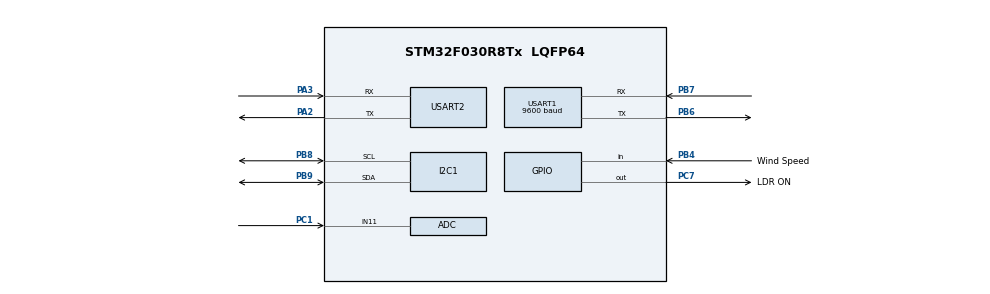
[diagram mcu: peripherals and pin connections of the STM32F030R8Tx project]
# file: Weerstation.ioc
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FREERTOS.Mutexes01=hi2c1Mutex,Dynamic,NULL;huart1Mutex,Dynamic,NULL
FREERTOS.Tasks01=defaultTask,0,128,StartDefaultTask,Default,NULL,Dynamic,NULL,NULL;tempTask,-3,128,StartTaskTempTask,Default,NULL,Dynamic,NULL,NULL;humdTask,-3,128,StartHumdTask,Default,NULL,Dynamic,NULL,NULL
Mcu.Family=STM32F0
Mcu.Name=STM32F030R8Tx
Mcu.Package=LQFP64
NVIC.TIM1_BRK_UP_TRG_COM_IRQn=true\:0\:0\:false\:false\:true\:false\:false
NVIC.TimeBase=TIM1_BRK_UP_TRG_COM_IRQn
NVIC.TimeBaseIP=TIM1
PA2.Mode=Asynchronous
PA2.Signal=USART2_TX
PA3.Mode=Asynchronous
PA3.Signal=USART2_RX
PB4.GPIO_Label=Wind Speed
PB4.GPIO_PuPd=GPIO_PULLUP
PB4.Signal=GPIO_Input
PB6.Mode=Asynchronous
PB6.Signal=USART1_TX
PB7.Mode=Asynchronous
PB7.Signal=USART1_RX
PB8.Mode=I2C
PB8.Signal=I2C1_SCL
PB9.Mode=I2C
PB9.Signal=I2C1_SDA
PC1.Mode=IN11
PC1.Signal=ADC_IN11
PC7.GPIO_Label=LDR ON
PC7.GPIO_ModeDefaultOutputPP=GPIO_MODE_OUTPUT_PP
PC7.PinState=GPIO_PIN_RESET
PC7.Signal=GPIO_Output
ProjectManager.HeapSize=0x200
ProjectManager.StackSize=0x400
ProjectManager.TargetToolchain=SW4STM32
USART1.BaudRate=9600
USART1.VirtualMode-Asynchronous=VM_ASYNC
USART2.VirtualMode-Asynchronous=VM_ASYNC
VP_FREERTOS_VS_ENABLE.Mode=Enabled
VP_SYS_VS_tim1.Mode=TIM1
board=custom

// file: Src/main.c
/**
  ******************************************************************************
  * @file           : main.c
  * @brief          : Main program body
  ******************************************************************************
  * This notice applies to any and all portions of this file
  * that are not between comment pairs USER CODE BEGIN and
  * USER CODE END. Other portions of this file, whether
  * inserted by the user or by software development tools
  * are owned by their respective copyright owners.
  *
  * Copyright (c) 2018 STMicroelectronics International N.V.
  * All rights reserved.
  *
  * Redistribution and use in source and binary forms, with or without
  * modification, are permitted, provided that the following conditions are met:
  *
  * 1. Redistribution of source code must retain the above copyright notice,
  *    this list of conditions and the following disclaimer.
  * 2. Redistributions in binary form must reproduce the above copyright notice,
  *    this list of conditions and the following disclaimer in the documentation
  *    and/or other materials provided with the distribution.
  * 3. Neither the name of STMicroelectronics nor the names of other
  *    contributors to this software may be used to endorse or promote products
  *    derived from this software without specific written permission.
  * 4. This software, including modifications and/or derivative works of this
  *    software, must execute solely and exclusively on microcontroller or
  *    microprocessor devices manufactured by or for STMicroelectronics.
  * 5. Redistribution and use of this software other than as permitted under
  *    this license is void and will automatically terminate your rights under
  *    this license.
  *
  * THIS SOFTWARE IS PROVIDED BY STMICROELECTRONICS AND CONTRIBUTORS "AS IS"
  * AND ANY EXPRESS, IMPLIED OR STATUTORY WARRANTIES, INCLUDING, BUT NOT
  * LIMITED TO, THE IMPLIED WARRANTIES OF MERCHANTABILITY, FITNESS FOR A
  * PARTICULAR PURPOSE AND NON-INFRINGEMENT OF THIRD PARTY INTELLECTUAL PROPERTY
  * RIGHTS ARE DISCLAIMED TO THE FULLEST EXTENT PERMITTED BY LAW. IN NO EVENT
  * SHALL STMICROELECTRONICS OR CONTRIBUTORS BE LIABLE FOR ANY DIRECT, INDIRECT,
  * INCIDENTAL, SPECIAL, EXEMPLARY, OR CONSEQUENTIAL DAMAGES (INCLUDING, BUT NOT
  * LIMITED TO, PROCUREMENT OF SUBSTITUTE GOODS OR SERVICES; LOSS OF USE, DATA,
  * OR PROFITS; OR BUSINESS INTERRUPTION) HOWEVER CAUSED AND ON ANY THEORY OF
  * LIABILITY, WHETHER IN CONTRACT, STRICT LIABILITY, OR TORT (INCLUDING
  * NEGLIGENCE OR OTHERWISE) ARISING IN ANY WAY OUT OF THE USE OF THIS SOFTWARE,
  * EVEN IF ADVISED OF THE POSSIBILITY OF SUCH DAMAGE.
  *
  ******************************************************************************
  */
#include "main.h"
#include "stm32f0xx_hal.h"
#include "cmsis_os.h"
<<<<<<< HEAD:Alweer een Microcontroller/Test/Src/main.c
#include "si7021.h"
#include "ssd1306.h"
#include <stdio.h>
#include <stdlib.h>
=======
>>>>>>> origin/Weer-Een-Station-STM:Alweer een Microcontroller/Weerstation/Src/main.c

/* USER CODE BEGIN Includes */
#include <stdio.h>
#include <stdlib.h>
#include "fonts.h"
#include "string.h"
#include "si7021.h"
#include "ssd1306.h"
#include "weereenlibrary.h"

/* USER CODE END Includes */

ADC_HandleTypeDef hadc;

I2C_HandleTypeDef hi2c1;

UART_HandleTypeDef huart1;
UART_HandleTypeDef huart2;

osThreadId defaultTaskHandle;
osThreadId tempTaskHandle;
osThreadId humdTaskHandle;
osMutexId hi2c1MutexHandle;
osMutexId huart1MutexHandle;

/* USER CODE BEGIN PV */
/* Private variables ---------------------------------------------------------*/

/* USER CODE END PV */

void SystemClock_Config(void);
static void MX_GPIO_Init(void);
static void MX_USART1_UART_Init(void);
static void MX_I2C1_Init(void);
static void MX_USART2_UART_Init(void);
static void MX_ADC_Init(void);
void StartDefaultTask(void const * argument);
void StartTaskTempTask(void const * argument);
void StartHumdTask(void const * argument);

/* USER CODE BEGIN PFP */
/* Private function prototypes -----------------------------------------------*/

/* USER CODE END PFP */

int main(void)
{

  /* MCU Configuration----------------------------------------------------------*/

  /* Reset of all peripherals, Initializes the Flash interface and the Systick. */
  HAL_Init();

  /* USER CODE BEGIN Init */
	ssd1306_Init();
  /* USER CODE END Init */

  /* Configure the system clock */
  SystemClock_Config();

  /* Initialize all configured peripherals */
  MX_GPIO_Init();
  MX_USART1_UART_Init();
  MX_I2C1_Init();
  MX_USART2_UART_Init();
  MX_ADC_Init();

  /* Create the mutex(es) */
  /* definition and creation of hi2c1Mutex */
  osMutexDef(hi2c1Mutex);
  hi2c1MutexHandle = osMutexCreate(osMutex(hi2c1Mutex));

  /* definition and creation of huart1Mutex */
  osMutexDef(huart1Mutex);
  huart1MutexHandle = osMutexCreate(osMutex(huart1Mutex));

  /* Create the thread(s) */
  /* definition and creation of defaultTask */
  osThreadDef(defaultTask, StartDefaultTask, osPriorityNormal, 0, 128);
  defaultTaskHandle = osThreadCreate(osThread(defaultTask), NULL);

  /* definition and creation of tempTask */
  osThreadDef(tempTask, StartTaskTempTask, osPriorityIdle, 0, 128);
  tempTaskHandle = osThreadCreate(osThread(tempTask), NULL);

  /* definition and creation of humdTask */
  osThreadDef(humdTask, StartHumdTask, osPriorityIdle, 0, 128);
  humdTaskHandle = osThreadCreate(osThread(humdTask), NULL);

  /* Start scheduler */
  osKernelStart();

  /* We should never get here as control is now taken by the scheduler */

  /* Infinite loop */
	while (1) {

	}

}

void SystemClock_Config(void)
{

  RCC_OscInitTypeDef RCC_OscInitStruct;
  RCC_ClkInitTypeDef RCC_ClkInitStruct;
  RCC_PeriphCLKInitTypeDef PeriphClkInit;

    /**Initializes the CPU, AHB and APB busses clocks
    */
  RCC_OscInitStruct.OscillatorType = RCC_OSCILLATORTYPE_HSI|RCC_OSCILLATORTYPE_HSI14;
  RCC_OscInitStruct.HSIState = RCC_HSI_ON;
  RCC_OscInitStruct.HSI14State = RCC_HSI14_ON;
  RCC_OscInitStruct.HSICalibrationValue = 16;
  RCC_OscInitStruct.HSI14CalibrationValue = 16;
  RCC_OscInitStruct.PLL.PLLState = RCC_PLL_NONE;
  if (HAL_RCC_OscConfig(&RCC_OscInitStruct) != HAL_OK)
  {
    _Error_Handler(__FILE__, __LINE__);
  }

    /**Initializes the CPU, AHB and APB busses clocks
    */
  RCC_ClkInitStruct.ClockType = RCC_CLOCKTYPE_HCLK|RCC_CLOCKTYPE_SYSCLK
                              |RCC_CLOCKTYPE_PCLK1;
  RCC_ClkInitStruct.SYSCLKSource = RCC_SYSCLKSOURCE_HSI;
  RCC_ClkInitStruct.AHBCLKDivider = RCC_SYSCLK_DIV1;
  RCC_ClkInitStruct.APB1CLKDivider = RCC_HCLK_DIV1;

  if (HAL_RCC_ClockConfig(&RCC_ClkInitStruct, FLASH_LATENCY_0) != HAL_OK)
  {
    _Error_Handler(__FILE__, __LINE__);
  }

  PeriphClkInit.PeriphClockSelection = RCC_PERIPHCLK_USART1|RCC_PERIPHCLK_I2C1;
  PeriphClkInit.Usart1ClockSelection = RCC_USART1CLKSOURCE_PCLK1;
  PeriphClkInit.I2c1ClockSelection = RCC_I2C1CLKSOURCE_HSI;
  if (HAL_RCCEx_PeriphCLKConfig(&PeriphClkInit) != HAL_OK)
  {
    _Error_Handler(__FILE__, __LINE__);
  }

    /**Configure the Systick interrupt time
    */
  HAL_SYSTICK_Config(HAL_RCC_GetHCLKFreq()/1000);

    /**Configure the Systick
    */
  HAL_SYSTICK_CLKSourceConfig(SYSTICK_CLKSOURCE_HCLK);

  /* SysTick_IRQn interrupt configuration */
  HAL_NVIC_SetPriority(SysTick_IRQn, 3, 0);
}

/* ADC init function */
static void MX_ADC_Init(void)
{

  ADC_ChannelConfTypeDef sConfig;

    /**Configure the global features of the ADC (Clock, Resolution, Data Alignment and number of conversion)
    */
  hadc.Instance = ADC1;
  hadc.Init.ClockPrescaler = ADC_CLOCK_ASYNC_DIV1;
  hadc.Init.Resolution = ADC_RESOLUTION_12B;
  hadc.Init.DataAlign = ADC_DATAALIGN_RIGHT;
  hadc.Init.ScanConvMode = ADC_SCAN_DIRECTION_FORWARD;
  hadc.Init.EOCSelection = ADC_EOC_SINGLE_CONV;
  hadc.Init.LowPowerAutoWait = DISABLE;
  hadc.Init.LowPowerAutoPowerOff = DISABLE;
  hadc.Init.ContinuousConvMode = DISABLE;
  hadc.Init.DiscontinuousConvMode = DISABLE;
  hadc.Init.ExternalTrigConv = ADC_SOFTWARE_START;
  hadc.Init.ExternalTrigConvEdge = ADC_EXTERNALTRIGCONVEDGE_NONE;
  hadc.Init.DMAContinuousRequests = DISABLE;
  hadc.Init.Overrun = ADC_OVR_DATA_PRESERVED;
  if (HAL_ADC_Init(&hadc) != HAL_OK)
  {
    _Error_Handler(__FILE__, __LINE__);
  }

    /**Configure for the selected ADC regular channel to be converted.
    */
  sConfig.Channel = ADC_CHANNEL_11;
  sConfig.Rank = ADC_RANK_CHANNEL_NUMBER;
  sConfig.SamplingTime = ADC_SAMPLETIME_1CYCLE_5;
  if (HAL_ADC_ConfigChannel(&hadc, &sConfig) != HAL_OK)
  {
    _Error_Handler(__FILE__, __LINE__);
  }

}

/* I2C1 init function */
static void MX_I2C1_Init(void)
{

  hi2c1.Instance = I2C1;
  hi2c1.Init.Timing = 0x2000090E;
  hi2c1.Init.OwnAddress1 = 0;
  hi2c1.Init.AddressingMode = I2C_ADDRESSINGMODE_7BIT;
  hi2c1.Init.DualAddressMode = I2C_DUALADDRESS_DISABLE;
  hi2c1.Init.OwnAddress2 = 0;
  hi2c1.Init.OwnAddress2Masks = I2C_OA2_NOMASK;
  hi2c1.Init.GeneralCallMode = I2C_GENERALCALL_DISABLE;
  hi2c1.Init.NoStretchMode = I2C_NOSTRETCH_DISABLE;
  if (HAL_I2C_Init(&hi2c1) != HAL_OK)
  {
    _Error_Handler(__FILE__, __LINE__);
  }

    /**Configure Analogue filter
    */
  if (HAL_I2CEx_ConfigAnalogFilter(&hi2c1, I2C_ANALOGFILTER_ENABLE) != HAL_OK)
  {
    _Error_Handler(__FILE__, __LINE__);
  }

    /**Configure Digital filter
    */
  if (HAL_I2CEx_ConfigDigitalFilter(&hi2c1, 0) != HAL_OK)
  {
    _Error_Handler(__FILE__, __LINE__);
  }

}

/* USART1 init function */
static void MX_USART1_UART_Init(void)
{

  huart1.Instance = USART1;
  huart1.Init.BaudRate = 9600;
  huart1.Init.WordLength = UART_WORDLENGTH_8B;
  huart1.Init.StopBits = UART_STOPBITS_1;
  huart1.Init.Parity = UART_PARITY_NONE;
  huart1.Init.Mode = UART_MODE_TX_RX;
  huart1.Init.HwFlowCtl = UART_HWCONTROL_NONE;
  huart1.Init.OverSampling = UART_OVERSAMPLING_16;
  huart1.Init.OneBitSampling = UART_ONE_BIT_SAMPLE_DISABLE;
  huart1.AdvancedInit.AdvFeatureInit = UART_ADVFEATURE_NO_INIT;
  if (HAL_UART_Init(&huart1) != HAL_OK)
  {
    _Error_Handler(__FILE__, __LINE__);
  }

}

/* USART2 init function */
static void MX_USART2_UART_Init(void)
{

  huart2.Instance = USART2;
  huart2.Init.BaudRate = 38400;
  huart2.Init.WordLength = UART_WORDLENGTH_8B;
  huart2.Init.StopBits = UART_STOPBITS_1;
  huart2.Init.Parity = UART_PARITY_NONE;
  huart2.Init.Mode = UART_MODE_TX_RX;
  huart2.Init.HwFlowCtl = UART_HWCONTROL_NONE;
  huart2.Init.OverSampling = UART_OVERSAMPLING_16;
  huart2.Init.OneBitSampling = UART_ONE_BIT_SAMPLE_DISABLE;
  huart2.AdvancedInit.AdvFeatureInit = UART_ADVFEATURE_NO_INIT;
  if (HAL_UART_Init(&huart2) != HAL_OK)
  {
    _Error_Handler(__FILE__, __LINE__);
  }

}

/** Configure pins as
        * Analog
        * Input
        * Output
        * EVENT_OUT
        * EXTI
*/
static void MX_GPIO_Init(void)
{

  GPIO_InitTypeDef GPIO_InitStruct;

  /* GPIO Ports Clock Enable */
  __HAL_RCC_GPIOC_CLK_ENABLE();
  __HAL_RCC_GPIOA_CLK_ENABLE();
  __HAL_RCC_GPIOB_CLK_ENABLE();

  /*Configure GPIO pin Output Level */
  HAL_GPIO_WritePin(LDR_ON_GPIO_Port, LDR_ON_Pin, GPIO_PIN_RESET);

  /*Configure GPIO pin : LDR_ON_Pin */
  GPIO_InitStruct.Pin = LDR_ON_Pin;
  GPIO_InitStruct.Mode = GPIO_MODE_OUTPUT_PP;
  GPIO_InitStruct.Pull = GPIO_NOPULL;
  GPIO_InitStruct.Speed = GPIO_SPEED_FREQ_LOW;
  HAL_GPIO_Init(LDR_ON_GPIO_Port, &GPIO_InitStruct);

  /*Configure GPIO pin : Wind_Speed_Pin */
  GPIO_InitStruct.Pin = Wind_Speed_Pin;
  GPIO_InitStruct.Mode = GPIO_MODE_INPUT;
  GPIO_InitStruct.Pull = GPIO_PULLUP;
  HAL_GPIO_Init(Wind_Speed_GPIO_Port, &GPIO_InitStruct);

}

/* StartDefaultTask function */
void StartDefaultTask(void const * argument)
{

  /* USER CODE BEGIN 5 */

	float result;
	float humidf;
	float tempf;
<<<<<<< HEAD:Alweer een Microcontroller/Test/Src/main.c
	char temp_buf[10];
	char humd_buf[10];
	char ldr[16];
	char ldr2[16];
	char uartbuf[32] = "test";
	uint32_t adcResult = 0;
	uint16_t RH_Code;
	uint16_t temp_Code;

	for (;;) {

		ssd1306_Fill(Black);
		RH_Code = makeMeasurment(HUMD_MEASURE_NOHOLD);
		result = (125.0 * RH_Code / 65536) - 6;
		humidity = result;
		temp_Code = makeMeasurment(TEMP_MEASURE_NOHOLD);
		result = ((175.72 * temp_Code) / 65536) - 46.85;
		tempf = result;
		itoa((int)(tempf * 10),temp_buf,10);
		temp_buf[3] = temp_buf[2];
		temp_buf[2] = ',';

		itoa((int)(humidity * 10),humd_buf,10);
				humd_buf[3] = humd_buf[2];
				humd_buf[2] = ',';

		ssd1306_SetCursor(0, 0);	//set cursor position x=0, y=0
		ssd1306_WriteString(temp_buf, Font_7x10, White);

		ssd1306_SetCursor(0, 10);	//set cursor position x=0, y=0
		ssd1306_WriteString(humd_buf, Font_7x10, White);
		osDelay(0);

		HAL_ADC_Start(&hadc);
		HAL_ADC_PollForConversion(&hadc, 100);

		adcResult = 0;
		adcResult = HAL_ADC_GetValue(&hadc);
		HAL_ADC_Stop(&hadc);
		itoa(adcResult,ldr2,10);
		ssd1306_SetCursor(0, 20);	//set cursor position x=0, y=0
		/*if(adcResult > 800)strcpy(ldr,"Ah My EyEs") ;
		if(adcResult < 800 && adcResult > 100)strcpy(ldr,"ThIs GuT");
		if(adcResult < 100)strcpy(ldr,"ItZ dAnK");
		ssd1306_WriteString(ldr, Font_7x10, White);
		ssd1306_SetCursor(75, 20);	//set cursor position x=0, y=0
		ssd1306_WriteString(ldr2, Font_7x10, White);*/
		ssd1306_UpdateScreen();
		sprintf(uartbuf,"temp: %s humd: %s \n", temp_buf, humd_buf);
		HAL_UART_Transmit(&huart2,uartbuf,32,100);

=======
	float windf = 1.6f;
	int16_t light;
	char temp_buf[10];
	char humd_buf[10];
	char uartbuf[32] = "test";
	ssd1306_Init();
	/* Infinite loop */
	for (;;) {

		result = measHumd(HUMD_MEASURE_NOHOLD);
		humidf = result;
		result = measTemp(TEMP_MEASURE_NOHOLD);
		tempf = result;
		light = ldrCheckVal();
		windf = (float) windfCheckVal();
		viewValOnOLED(tempf, humidf, windf, light);
		huart1toesp(tempf, humidf, windf, light);
		//sprintf(uartbuf, "temp: %s humd: %s \n", temp_buf, humd_buf);
		//HAL_UART_Transmit(&huart1, uartbuf, 32, 100);
		osDelay(1000);
>>>>>>> origin/Weer-Een-Station-STM:Alweer een Microcontroller/Weerstation/Src/main.c
	}
  /* USER CODE END 5 */
}

/* StartTaskTempTask function */
void StartTaskTempTask(void const * argument)
{
	for (;;) {
		osDelay(1);
	}
}

/* StartHumdTask function */
void StartHumdTask(void const * argument)
{
	for (;;) {
		osDelay(1);
	}
}

void HAL_TIM_PeriodElapsedCallback(TIM_HandleTypeDef *htim)
{
  if (htim->Instance == TIM1) {
    HAL_IncTick();
  }
}

void _Error_Handler(char *file, int line)
{
	while (1) {
	}
}

/************************ (C) COPYRIGHT STMicroelectronics *****END OF FILE****/
